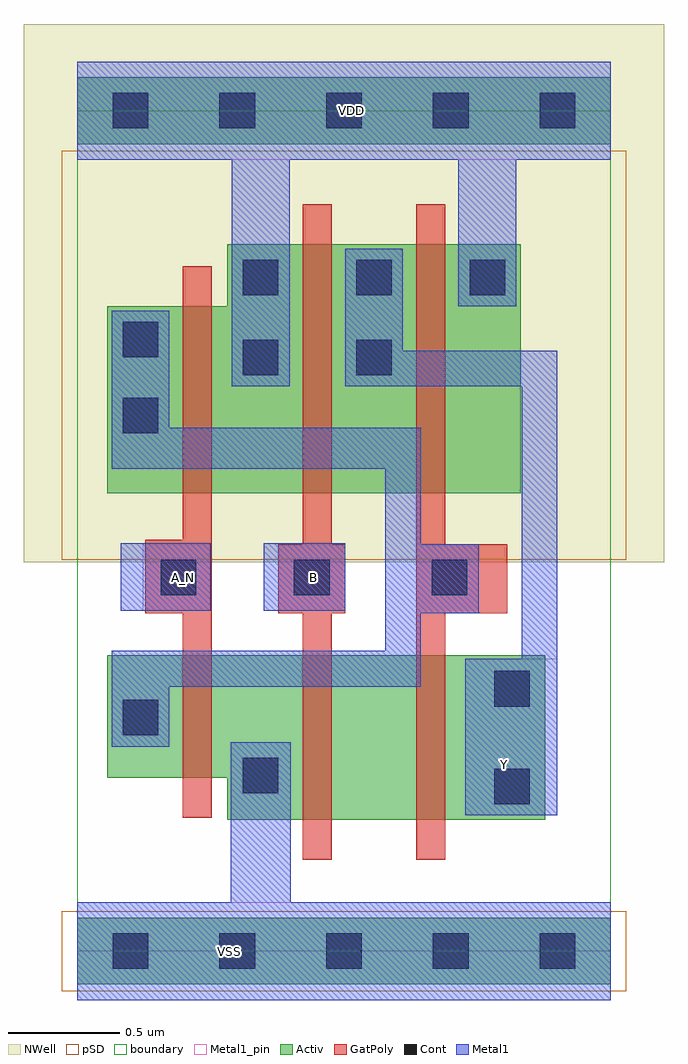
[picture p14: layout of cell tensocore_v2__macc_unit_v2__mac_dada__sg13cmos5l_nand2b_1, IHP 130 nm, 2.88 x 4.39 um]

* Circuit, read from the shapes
.subckt tensocore_v2__macc_unit_v2__mac_dada__sg13cmos5l_nand2b_1 A_N B VDD VSS Y
XM1 VSS A_N n1 VSS sg13_lv_nmos w=0.55u l=0.13u
XM2 n2 B VSS VSS sg13_lv_nmos w=0.74u l=0.13u
XM3 Y n1 n2 VSS sg13_lv_nmos w=0.74u l=0.13u
XM4 VDD A_N n1 VDD sg13_lv_pmos w=0.84u l=0.13u
XM5 Y B VDD VDD sg13_lv_pmos w=1.12u l=0.13u
XM6 VDD n1 Y VDD sg13_lv_pmos w=1.12u l=0.13u
.ends

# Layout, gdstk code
import gdstk
lib = gdstk.Library(unit=1e-6, precision=1e-09)
def R(c, l, rs):  # rectangles x0, y0, x1, y1
    for r in rs: c.add(gdstk.rectangle(r[:2], r[2:], *l))
def A(c, l, x, y, w, h, nx, ny, dx, dy):  # array of equal rectangles
    R(c, l, [(x+i*dx, y+j*dy, x+i*dx+w, y+j*dy+h) for i in range(nx) for j in range(ny)])
def P(c, l, *ps):  # polygons
    for p in ps: c.add(gdstk.Polygon(p, *l))
Activ = (1, 0)
GatPoly = (5, 0)
Cont = (6, 0)
Metal1 = (8, 0)
Metal1_pin = (8, 2)
pSD = (14, 0)
NWell = (31, 0)
boundary = (189, 4)

tensocore_v2__macc_unit_ = lib.new_cell('tensocore_v2__macc_unit_v2__mac_dada__sg13cmos5l_nand2b_1')
R(tensocore_v2__macc_unit_, Activ, [(0,-0.15,2.4,0.15), (0,3.63,2.4,3.93)])
P(tensocore_v2__macc_unit_, Activ, [(0.675,0.59),(0.675,0.78),(0.135,0.78),(0.135,1.33),(2.105,1.33),(2.105,0.59)],
  [(0.135,2.06),(0.135,2.9),(0.675,2.9),(0.675,3.18),(1.995,3.18),(1.995,2.06)])
P(tensocore_v2__macc_unit_, GatPoly, [(0.475,0.6),(0.475,1.52),(0.305,1.52),(0.305,1.85),(0.475,1.85),(0.475,3.08),(0.605,3.08),(0.605,0.6)],
  [(1.015,0.41),(1.015,1.52),(0.905,1.52),(0.905,1.83),(1.015,1.83),(1.015,3.36),(1.145,3.36),(1.145,1.83),(1.205,1.83),(1.205,1.52),(1.145,1.52),(1.145,0.41)],
  [(1.525,0.41),(1.525,3.36),(1.655,3.36),(1.655,1.83),(1.935,1.83),(1.935,1.52),(1.655,1.52),(1.655,0.41)])
A(tensocore_v2__macc_unit_, Cont, 0.745, 2.95, 0.16, 0.16, 3, 1, 0.51, 0)
R(tensocore_v2__macc_unit_, Cont, [(0.16,-0.08,0.32,0.08), (0.16,-0.08,0.32,0.08), (0.64,-0.08,0.8,0.08), (0.64,-0.08,0.8,0.08), (1.12,-0.08,1.28,0.08), (1.12,-0.08,1.28,0.08), (1.6,-0.08,1.76,0.08), (1.6,-0.08,1.76,0.08), (2.08,-0.08,2.24,0.08), (2.08,-0.08,2.24,0.08), (1.875,0.66,2.035,0.82), (0.745,0.71,0.905,0.87), (0.205,0.97,0.365,1.13), (1.875,1.1,2.035,1.26), (0.375,1.6,0.535,1.76), (0.975,1.6,1.135,1.76), (1.595,1.6,1.755,1.76), (0.205,2.33,0.365,2.49), (0.745,2.59,0.905,2.75), (1.255,2.59,1.415,2.75), (0.205,2.67,0.365,2.83), (0.16,3.7,0.32,3.86), (0.16,3.7,0.32,3.86), (0.64,3.7,0.8,3.86), (0.64,3.7,0.8,3.86), (1.12,3.7,1.28,3.86), (1.12,3.7,1.28,3.86), (1.6,3.7,1.76,3.86), (1.6,3.7,1.76,3.86), (2.08,3.7,2.24,3.86), (2.08,3.7,2.24,3.86)])
R(tensocore_v2__macc_unit_, Metal1, [(0.195,1.53,0.6,1.835), (0.84,1.53,1.205,1.835)])
P(tensocore_v2__macc_unit_, Metal1, [(0.695,2.54),(0.695,3.56),(0,3.56),(0,4),(2.4,4),(2.4,3.56),(1.975,3.56),(1.975,2.9),(1.715,2.9),(1.715,3.56),(0.955,3.56),(0.955,2.54)],
  [(0,-0.22),(0,0.22),(0.69,0.22),(0.69,0.94),(0.96,0.94),(0.96,0.22),(2.4,0.22),(2.4,-0.22)],
  [(1.745,0.61),(1.745,1.315),(2,1.315),(2,2.54),(1.205,2.54),(1.205,3.16),(1.465,3.16),(1.465,2.7),(2.16,2.7),(2.16,0.61)],
  [(0.155,0.92),(0.155,1.35),(1.385,1.35),(1.385,2.17),(0.155,2.17),(0.155,2.88),(0.415,2.88),(0.415,2.355),(1.545,2.355),(1.545,1.83),(1.805,1.83),(1.805,1.52),(1.545,1.52),(1.545,1.19),(0.415,1.19),(0.415,0.92)])
R(tensocore_v2__macc_unit_, Metal1_pin, [(0,-0.22,2.4,0.22), (1.745,0.61,2.16,1.315), (0.295,1.53,0.6,1.835), (0.84,1.53,1.205,1.835), (0,3.56,2.4,4)])
R(tensocore_v2__macc_unit_, pSD, [(-0.07,-0.18,2.47,0.18), (-0.07,1.76,2.47,3.6)])
R(tensocore_v2__macc_unit_, NWell, [(-0.24,1.75,2.64,4.17)])
R(tensocore_v2__macc_unit_, boundary, [(0,0,2.4,3.78)])
tensocore_v2__macc_unit_.add(gdstk.Label('VDD', (1.235,3.78), layer=8, texttype=25))
tensocore_v2__macc_unit_.add(gdstk.Label('B', (1.065,1.68), layer=8, texttype=25))
tensocore_v2__macc_unit_.add(gdstk.Label('Y', (1.92,0.84), layer=8, texttype=25))
tensocore_v2__macc_unit_.add(gdstk.Label('A_N', (0.48,1.68), layer=8, texttype=25))
tensocore_v2__macc_unit_.add(gdstk.Label('VSS', (0.685,0), layer=8, texttype=25))

lib.write_gds('tensocore_v2__macc_unit_v2__mac_dada__sg13cmos5l_nand2b_1.gds')
